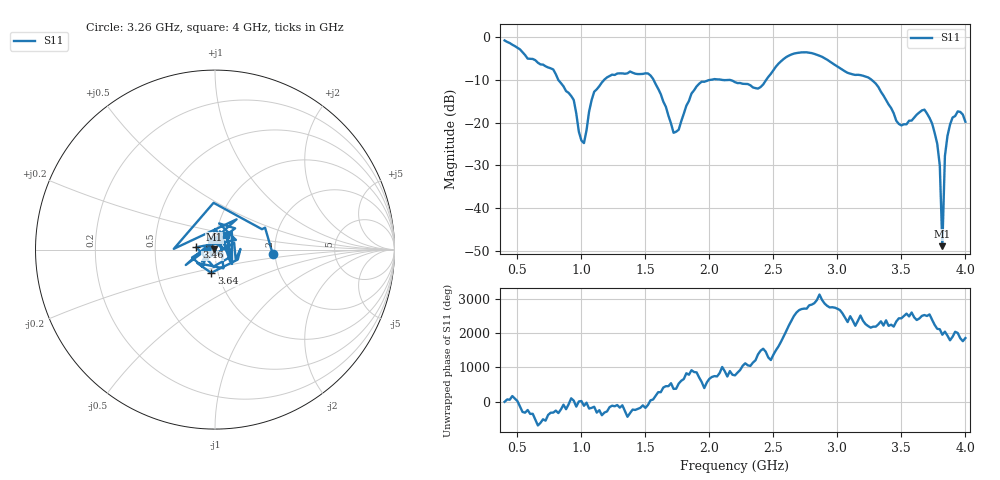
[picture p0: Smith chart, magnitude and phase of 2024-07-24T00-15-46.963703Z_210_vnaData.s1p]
!Created with skrf (http://scikit-rf.org).
# Hz S RI R 50.0
!freq ReS11 ImS11
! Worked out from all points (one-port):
!   181 points, 400 MHz to 4 GHz, reference 50 ohm
!   lowest |S11| = -48.9 dB at 3.82 GHz (marker M1), VSWR 1.01, Z = 49.7 + j0.186 ohm
!   |S11| at or under -10 dB: 819.3 MHz to 1.178 GHz (358.9 MHz wide, 35.9 % of centre); 1.564 GHz to 2.009 GHz (445 MHz wide, 24.9 % of centre); 3.267 GHz to end of sweep (the widest 3 of 4)
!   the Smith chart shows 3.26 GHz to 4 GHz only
!   S11 on the Smith chart (normalised r, x): 3.26 GHz: 1.94, -0.11; 3.46 GHz: 0.81, +0.02; 3.64 GHz: 0.93, -0.24; 4 GHz: 1.12, +0.18
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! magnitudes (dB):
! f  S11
! 400 MHz  -0.8
! 780 MHz  -7.6
! 860 MHz  -11.5
! 940 MHz  -14.7
! 980 MHz  -22.1
! 1.02 GHz  -24.8
! 1.1 GHz  -12.8
! 1.3 GHz  -8.5
! 1.54 GHz  -9.0
! 1.72 GHz  -22.4
! 1.76 GHz  -21.7
! 1.92 GHz  -10.9
! 2.2 GHz  -10.5
! 2.38 GHz  -12.0
! 2.66 GHz  -3.9
! 3.1 GHz  -8.5
! 3.26 GHz  -9.8
! 3.46 GHz  -19.6
! 3.56 GHz  -19.6
! 3.64 GHz  -17.6
! 3.7 GHz  -17.9
! 3.78 GHz  -24.9
! 3.8 GHz  -30.0
! 3.82 GHz  -48.9
! 3.84 GHz  -27.8
! 3.86 GHz  -23.1
! 3.94 GHz  -17.4
! 4 GHz  -19.8
